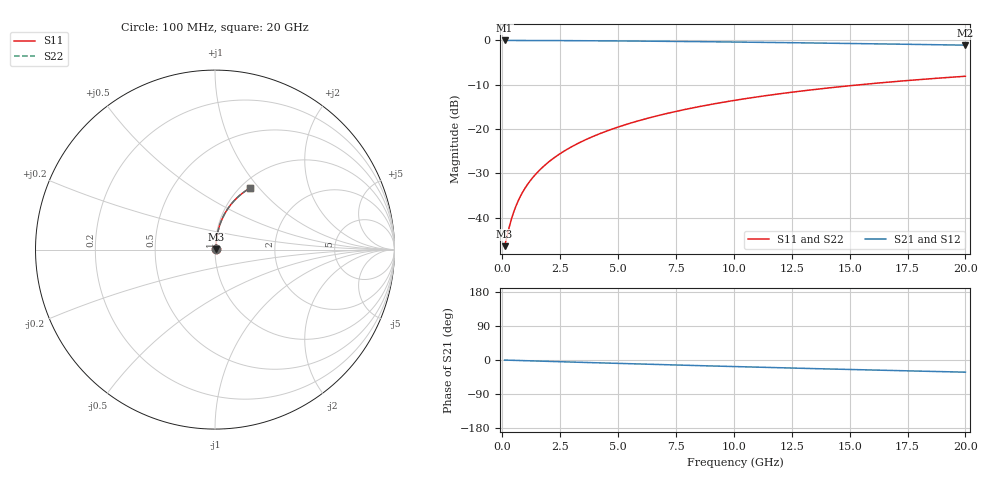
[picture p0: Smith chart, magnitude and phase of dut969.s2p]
! Touchstone file exported from HFSS 2024.1.0
!  File:  C:/UserFiles/LocalFiles/RDL_TSV_Batchsim/temp_RDL_top_969_1779938773.aedt
!  Generated:  11:28:32 AM May 28, 2026
!  Design:  RDL_top
!  Project:  temp_RDL_top_969_1779938773
!  Setup:  Setup1
!  Solution:  Sweep
! Variables:
!  dtsv = 10.80580581um
!  hbump = 3um
!  htsv = 99.93um
!  ldown = 100um
!  lrdl = 351.8um
!  p = 40
!  p1 = 56.48um
!  rhole = 1um
!  t = 450um
!  tdown = 3.915915916um
!  trdl = 2.19um
!  wdown = 15.38538539um
!  wrdl = 14.12um
# GHz S MA R 50.000000
! Terminal data exported
! Port[1] = Box2_T1
! Port[2] = Box2_T2
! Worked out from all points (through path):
!   200 points, 100 MHz to 20 GHz, reference 50 ohm
!   highest |S21| = -0.04 dB at 100 MHz (marker M1); lowest = -1.1 dB at 20 GHz (marker M2)
!   group delay of S21, straight-line fit = 4.46 ps
!   lowest |S11| = -46.4 dB at 100 MHz (marker M3), VSWR 1.01, Z = 50.4 + j0.22 ohm
!   |S11| at or under -10 dB: start of sweep to 15.48 GHz
!   |S22| runs from -46.4 to -8.1 dB; largest |S21 - S12| = 2e-15
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0.1  0.004784 27.2  0.9957 -0.2  0.9957 -0.2  0.004784 27.2
! Gamma 0 0 0 0
! Port Impedance 50 0 50 0
0.3  0.007859 56.2  0.9956 -0.6  0.9956 -0.6  0.007859 56.2
0.4  0.009761 62.8  0.9955 -0.7  0.9955 -0.7  0.009761 62.8
0.5  0.01174 67.0  0.9954 -0.9  0.9954 -0.9  0.01174 67.0
0.6  0.01376 70.0  0.9953 -1.1  0.9953 -1.1  0.01376 70.0
0.7  0.01579 72.2  0.9952 -1.3  0.9952 -1.3  0.01579 72.2
0.9  0.01987 75.1  0.9949 -1.7  0.9949 -1.7  0.01987 75.1
1.2  0.02602 77.7  0.9944 -2.2  0.9944 -2.2  0.02602 77.7
1.4  0.03012 78.8  0.9941 -2.6  0.9941 -2.6  0.03012 78.8
1.7  0.03629 79.9  0.9936 -3.1  0.9936 -3.1  0.03629 79.9
2.2  0.04662 81.0  0.9926 -4.0  0.9926 -4.0  0.04662 81.0
2.8  0.05909 81.5  0.9912 -5.1  0.9912 -5.1  0.05909 81.5
3.5  0.07372 81.6  0.9892 -6.3  0.9892 -6.3  0.07372 81.6
4.2  0.08841 81.3  0.9868 -7.6  0.9868 -7.6  0.08841 81.3
5  0.1053 80.7  0.9837 -9.0  0.9837 -9.0  0.1053 80.7
5.9  0.1242 79.9  0.9797 -10.5  0.9797 -10.5  0.1243 79.9
6.8  0.1432 78.9  0.9753 -12.0  0.9753 -12.0  0.1432 78.9
8.4  0.1768 76.9  0.9664 -14.7  0.9664 -14.7  0.1768 76.9
10.1  0.2118 74.5  0.9559 -17.5  0.9559 -17.5  0.2119 74.5
13.4  0.2773 69.8  0.933 -22.6  0.933 -22.6  0.2774 69.8
16.7  0.3381 65.0  0.9078 -27.5  0.9078 -27.5  0.3381 65.0
20  0.3934 60.4  0.8813 -32.1  0.8813 -32.1  0.3935 60.4
